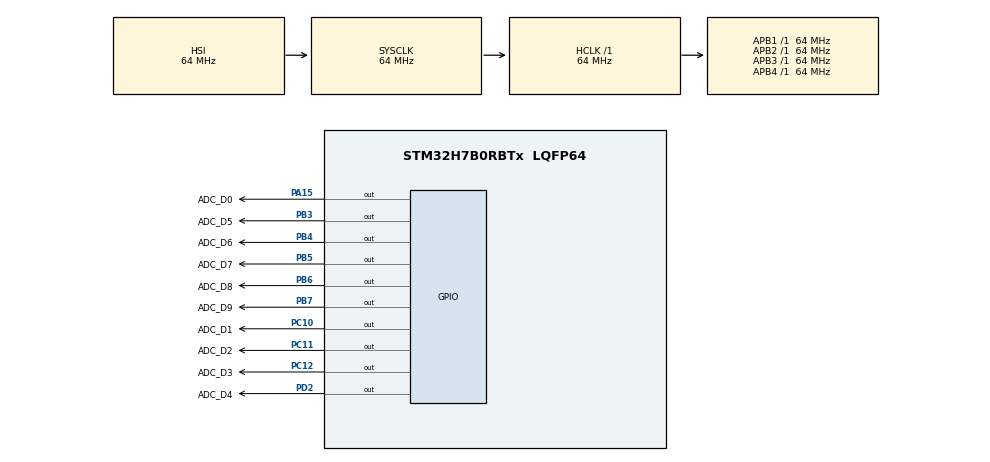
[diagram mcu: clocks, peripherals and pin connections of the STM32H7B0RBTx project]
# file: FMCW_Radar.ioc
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CORTEX_M7.default_mode_Activation=1
Mcu.Family=STM32H7
Mcu.Name=STM32H7B0RBTx
Mcu.Package=LQFP64
NVIC.PriorityGroup=NVIC_PRIORITYGROUP_4
PA15.GPIO_Label=ADC_D0
PA15.Signal=GPIO_Output
PB3.GPIO_Label=ADC_D5
PB3.Signal=GPIO_Output
PB4.GPIO_Label=ADC_D6
PB4.Signal=GPIO_Output
PB5.GPIO_Label=ADC_D7
PB5.Signal=GPIO_Output
PB6.GPIO_Label=ADC_D8
PB6.Signal=GPIO_Output
PB7.GPIO_Label=ADC_D9
PB7.Signal=GPIO_Output
PC10.GPIO_Label=ADC_D1
PC10.Signal=GPIO_Output
PC11.GPIO_Label=ADC_D2
PC11.Signal=GPIO_Output
PC12.GPIO_Label=ADC_D3
PC12.Signal=GPIO_Output
PD2.GPIO_Label=ADC_D4
PD2.Signal=GPIO_Output
ProjectManager.HeapSize=0x200
ProjectManager.StackSize=0x400
ProjectManager.TargetToolchain=CMake
RCC.ADCFreq_Value=129000000
RCC.APB1Freq_Value=64000000
RCC.APB2Freq_Value=64000000
RCC.APB3Freq_Value=64000000
RCC.APB4Freq_Value=64000000
RCC.CortexFreq_Value=64000000
RCC.HCLKFreq_Value=64000000
RCC.SYSCLKFreq_VALUE=64000000
RCC.USBFreq_Value=129000000
VP_MEMORYMAP_VS_MEMORYMAP.Mode=CurAppReg
board=custom

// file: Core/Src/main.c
/* USER CODE BEGIN Header */
/**
  ******************************************************************************
  * @file           : main.c
  * @brief          : Main program body
  ******************************************************************************
  * @attention
  *
  * Copyright (c) 2026 STMicroelectronics.
  * All rights reserved.
  *
  * This software is licensed under terms that can be found in the LICENSE file
  * in the root directory of this software component.
  * If no LICENSE file comes with this software, it is provided AS-IS.
  *
  ******************************************************************************
  */
/* USER CODE END Header */
#include "main.h"

/* USER CODE BEGIN Includes */
#include "adc_gpio.h"
#include "sampling.h"
#include "fft.h"
#include "fft_serial_output.h"
/* USER CODE END Includes */

/* USER CODE BEGIN PV */
#define SAMPLE_RATE_HZ 20000000  /* 20 MSPS for ~10 MHz Nyquist frequency */

static FFTResult fft_result;
/* USER CODE END PV */

void SystemClock_Config(void);
static void MPU_Config(void);
static void MX_GPIO_Init(void);

int main(void)
{

  /* MPU Configuration--------------------------------------------------------*/
  MPU_Config();

  /* MCU Configuration--------------------------------------------------------*/

  /* Reset of all peripherals, Initializes the Flash interface and the Systick. */
  HAL_Init();

  /* USER CODE BEGIN Init */
  ADC_GPIO_Init();
  Sampling_Init(SAMPLE_RATE_HZ);
  FFT_Init(SAMPLE_RATE_HZ);
  FFT_SerialOutput_Init();
  /* USER CODE END Init */

  /* Configure the system clock */
  SystemClock_Config();

  /* Initialize all configured peripherals */
  MX_GPIO_Init();
  /* USER CODE BEGIN 2 */
  Sampling_Start();
  /* USER CODE END 2 */

  /* Infinite loop */
  while (1)
  {

    /* USER CODE BEGIN 3 */
    SampleBuffer* buffer = Sampling_GetBuffer();

    /* Check if a full buffer of samples is ready */
    if (buffer->buffer_ready) {
      /* Process FFT on the collected samples */
      FFT_Process(buffer->samples, &fft_result);

      /* Get peak frequency */
      float32_t peak_freq = FFT_GetPeakFrequency(&fft_result);

      /* Example: Get magnitude at 100kHz */
      float32_t mag_100k = FFT_GetMagnitudeAtFrequency(&fft_result, 100000.0f);

      /* Send FFT result over serial to visualization server */
      if (FFT_SerialOutput_IsReady()) {
        FFT_SerialOutput_SendResult(&fft_result);
      }

      /* Clear the buffer ready flag to collect new samples */
      Sampling_ClearBufferReady();
    }
  }
  /* USER CODE END 3 */
}

void SystemClock_Config(void)
{
  RCC_OscInitTypeDef RCC_OscInitStruct = {0};
  RCC_ClkInitTypeDef RCC_ClkInitStruct = {0};

  /*AXI clock gating */
  RCC->CKGAENR = 0xE003FFFF;

  /** Supply configuration update enable
  */
  HAL_PWREx_ConfigSupply(PWR_LDO_SUPPLY);

  /** Configure the main internal regulator output voltage
  */
  __HAL_PWR_VOLTAGESCALING_CONFIG(PWR_REGULATOR_VOLTAGE_SCALE3);

  while(!__HAL_PWR_GET_FLAG(PWR_FLAG_VOSRDY)) {}

  /** Initializes the RCC Oscillators according to the specified parameters
  * in the RCC_OscInitTypeDef structure.
  */
  RCC_OscInitStruct.OscillatorType = RCC_OSCILLATORTYPE_HSI;
  RCC_OscInitStruct.HSIState = RCC_HSI_DIV1;
  RCC_OscInitStruct.HSICalibrationValue = 64;
  RCC_OscInitStruct.PLL.PLLState = RCC_PLL_NONE;
  if (HAL_RCC_OscConfig(&RCC_OscInitStruct) != HAL_OK)
  {
    Error_Handler();
  }

  /** Initializes the CPU, AHB and APB buses clocks
  */
  RCC_ClkInitStruct.ClockType = RCC_CLOCKTYPE_HCLK|RCC_CLOCKTYPE_SYSCLK
                              |RCC_CLOCKTYPE_PCLK1|RCC_CLOCKTYPE_PCLK2
                              |RCC_CLOCKTYPE_D3PCLK1|RCC_CLOCKTYPE_D1PCLK1;
  RCC_ClkInitStruct.SYSCLKSource = RCC_SYSCLKSOURCE_HSI;
  RCC_ClkInitStruct.SYSCLKDivider = RCC_SYSCLK_DIV1;
  RCC_ClkInitStruct.AHBCLKDivider = RCC_HCLK_DIV1;
  RCC_ClkInitStruct.APB3CLKDivider = RCC_APB3_DIV1;
  RCC_ClkInitStruct.APB1CLKDivider = RCC_APB1_DIV1;
  RCC_ClkInitStruct.APB2CLKDivider = RCC_APB2_DIV1;
  RCC_ClkInitStruct.APB4CLKDivider = RCC_APB4_DIV1;

  if (HAL_RCC_ClockConfig(&RCC_ClkInitStruct, FLASH_LATENCY_2) != HAL_OK)
  {
    Error_Handler();
  }
}

static void MX_GPIO_Init(void)
{
  GPIO_InitTypeDef GPIO_InitStruct = {0};

  /* GPIO Ports Clock Enable */
  __HAL_RCC_GPIOA_CLK_ENABLE();
  __HAL_RCC_GPIOC_CLK_ENABLE();
  __HAL_RCC_GPIOD_CLK_ENABLE();
  __HAL_RCC_GPIOB_CLK_ENABLE();

  /*Configure GPIO pin Output Level */
  HAL_GPIO_WritePin(ADC_D0_GPIO_Port, ADC_D0_Pin, GPIO_PIN_RESET);

  /*Configure GPIO pin Output Level */
  HAL_GPIO_WritePin(GPIOC, ADC_D1_Pin|ADC_D2_Pin|ADC_D3_Pin, GPIO_PIN_RESET);

  /*Configure GPIO pin Output Level */
  HAL_GPIO_WritePin(ADC_D4_GPIO_Port, ADC_D4_Pin, GPIO_PIN_RESET);

  /*Configure GPIO pin Output Level */
  HAL_GPIO_WritePin(GPIOB, ADC_D5_Pin|ADC_D6_Pin|ADC_D7_Pin|ADC_D8_Pin
                          |ADC_D9_Pin, GPIO_PIN_RESET);

  /*Configure GPIO pin : ADC_D0_Pin */
  GPIO_InitStruct.Pin = ADC_D0_Pin;
  GPIO_InitStruct.Mode = GPIO_MODE_OUTPUT_PP;
  GPIO_InitStruct.Pull = GPIO_NOPULL;
  GPIO_InitStruct.Speed = GPIO_SPEED_FREQ_LOW;
  HAL_GPIO_Init(ADC_D0_GPIO_Port, &GPIO_InitStruct);

  /*Configure GPIO pins : ADC_D1_Pin ADC_D2_Pin ADC_D3_Pin */
  GPIO_InitStruct.Pin = ADC_D1_Pin|ADC_D2_Pin|ADC_D3_Pin;
  GPIO_InitStruct.Mode = GPIO_MODE_OUTPUT_PP;
  GPIO_InitStruct.Pull = GPIO_NOPULL;
  GPIO_InitStruct.Speed = GPIO_SPEED_FREQ_LOW;
  HAL_GPIO_Init(GPIOC, &GPIO_InitStruct);

  /*Configure GPIO pin : ADC_D4_Pin */
  GPIO_InitStruct.Pin = ADC_D4_Pin;
  GPIO_InitStruct.Mode = GPIO_MODE_OUTPUT_PP;
  GPIO_InitStruct.Pull = GPIO_NOPULL;
  GPIO_InitStruct.Speed = GPIO_SPEED_FREQ_LOW;
  HAL_GPIO_Init(ADC_D4_GPIO_Port, &GPIO_InitStruct);

  /*Configure GPIO pins : ADC_D5_Pin ADC_D6_Pin ADC_D7_Pin ADC_D8_Pin
                           ADC_D9_Pin */
  GPIO_InitStruct.Pin = ADC_D5_Pin|ADC_D6_Pin|ADC_D7_Pin|ADC_D8_Pin
                          |ADC_D9_Pin;
  GPIO_InitStruct.Mode = GPIO_MODE_OUTPUT_PP;
  GPIO_InitStruct.Pull = GPIO_NOPULL;
  GPIO_InitStruct.Speed = GPIO_SPEED_FREQ_LOW;
  HAL_GPIO_Init(GPIOB, &GPIO_InitStruct);

}

 /* MPU Configuration */

void MPU_Config(void)
{
  MPU_Region_InitTypeDef MPU_InitStruct = {0};

  /* Disables the MPU */
  HAL_MPU_Disable();

  /** Initializes and configures the Region and the memory to be protected
  */
  MPU_InitStruct.Enable = MPU_REGION_ENABLE;
  MPU_InitStruct.Number = MPU_REGION_NUMBER0;
  MPU_InitStruct.BaseAddress = 0x0;
  MPU_InitStruct.Size = MPU_REGION_SIZE_4GB;
  MPU_InitStruct.SubRegionDisable = 0x87;
  MPU_InitStruct.TypeExtField = MPU_TEX_LEVEL0;
  MPU_InitStruct.AccessPermission = MPU_REGION_NO_ACCESS;
  MPU_InitStruct.DisableExec = MPU_INSTRUCTION_ACCESS_DISABLE;
  MPU_InitStruct.IsShareable = MPU_ACCESS_SHAREABLE;
  MPU_InitStruct.IsCacheable = MPU_ACCESS_NOT_CACHEABLE;
  MPU_InitStruct.IsBufferable = MPU_ACCESS_NOT_BUFFERABLE;

  HAL_MPU_ConfigRegion(&MPU_InitStruct);
  /* Enables the MPU */
  HAL_MPU_Enable(MPU_PRIVILEGED_DEFAULT);

}

void Error_Handler(void)
{
  __disable_irq();
  while (1)
  {
  }
}
